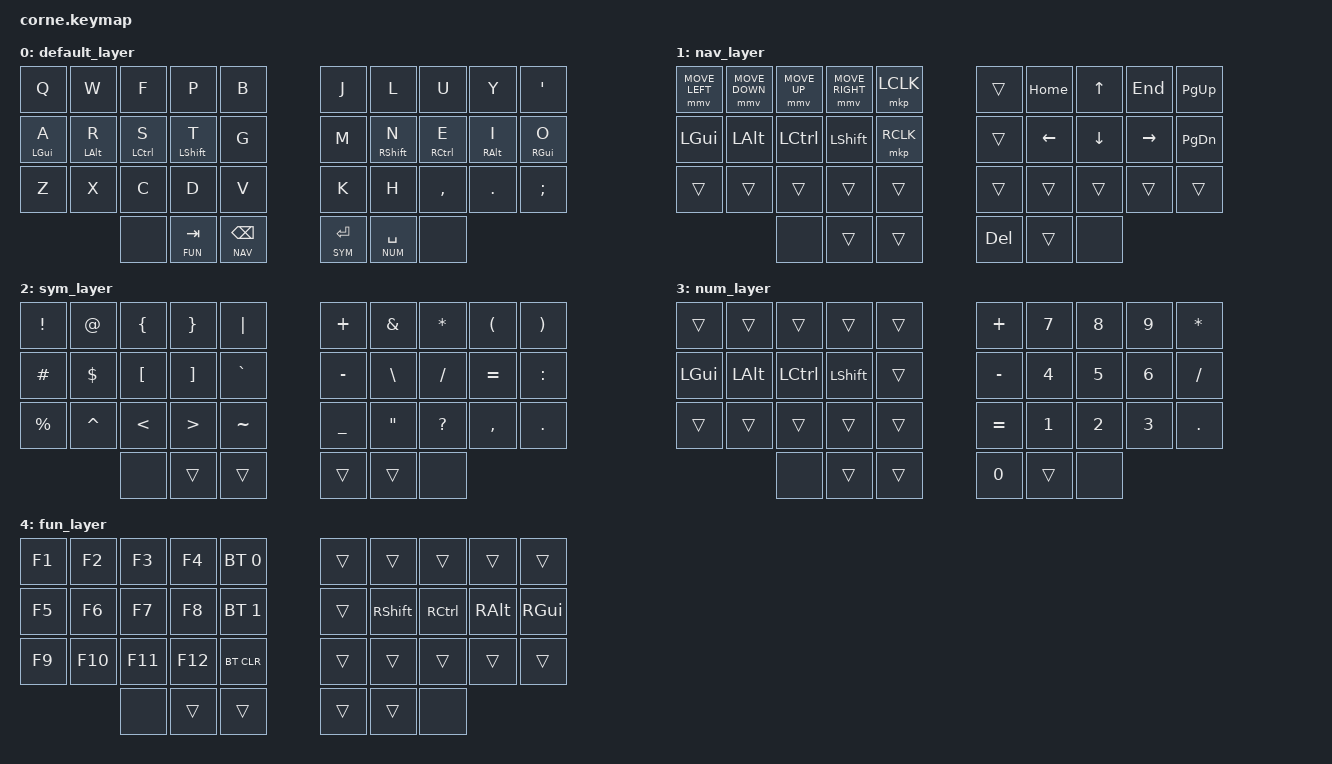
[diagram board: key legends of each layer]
/*
 * Keymap created with customkeymap - base: Split 3×5 + 3 thumbs (36 keys)
 * | 00 | 01 | 02 | 03 | 04 |	| 05 | 06 | 07 | 08 | 09 |
 * | 10 | 11 | 12 | 13 | 14 |	| 15 | 16 | 17 | 18 | 19 |
 * | 20 | 21 | 22 | 23 | 24 |	| 25 | 26 | 27 | 28 | 29 |
 *           | 30 | 31 | 32 |	| 33 | 34 | 35 |
 */

#include <behaviors.dtsi>
#include <dt-bindings/zmk/keys.h>
#include <dt-bindings/zmk/bt.h>
#include <dt-bindings/zmk/mouse.h>

// Layer name definitions
#define DEF 0
#define NAV 1
#define SYM 2
#define NUM 3
#define FUN 4

/ {
    // OPTIMIZED AUTOMATIC COMBOS (No typing latency)
    combos {
        compatible = "zmk,combos";

        // ESCAPE Combo: Press K + H (positions 25 & 26) after a brief idle pause
        combo_esc {
            timeout-ms = <35>;
            key-positions = <25 26>;
            bindings = <&kp ESC>;
            require-prior-idle-ms = <125>; // Prevents misfires during fast typing
            layers = <DEF>;                 // Active on default layer only
        };
    };

    // CUSTOM BEHAVIORS
    behaviors {
        // Optimized Home Row Mods to prevent accidental modifier triggers
        hm: home_row_mods {
            compatible = "zmk,behavior-hold-tap";
            label = "HOME_ROW_MODS";
            #binding-cells = <2>;
            tapping-term-ms = <180>;
            quick-tap-ms = <150>;
            flavor = "balanced";
            bindings = <&kp>, <&kp>;
        };

        // Custom Tap-Hold behavior for thumb layer toggles
        lt_p: layer_tap_thumb {
            compatible = "zmk,behavior-hold-tap";
            label = "LAYER_TAP_THUMB";
            #binding-cells = <2>;
            tapping-term-ms = <170>;
            quick-tap-ms = <150>;
            flavor = "tap-preferred";
            bindings = <&mo>, <&kp>;
        };
    };

    keymap {
        compatible = "zmk,keymap";

        // LAYER 0: DEFAULT (Colemak-DH + Home Row Mods)
        default_layer {
            bindings = <
                &kp Q        &kp W         &kp F          &kp P         &kp B          &kp J           &kp L           &kp U        &kp Y        &kp SQT
                &hm LGUI A   &hm LALT R    &hm LCTRL S    &hm LSHFT T   &kp G          &kp M           &hm RSHFT N     &hm RCTRL E  &hm RALT I   &hm RGUI O
                &kp Z        &kp X         &kp C          &kp D         &kp V          &kp K           &kp H           &kp COMMA    &kp DOT      &kp SEMI
                &none        &lt_p FUN TAB &lt_p NAV BSPC                              &lt_p SYM ENTER &lt_p NUM SPACE &none
            >;
        };

        // LAYER 1: NAVIGATION & MOUSE (NAV) - Activated by holding BSPC
        nav_layer {
            bindings = <
                &mmv MOVE_LEFT &mmv MOVE_DOWN &mmv MOVE_UP &mmv MOVE_RIGHT &mkp LCLK   &trans       &kp HOME     &kp UP       &kp END      &kp PG_UP
                &kp LGUI       &kp LALT       &kp LCTRL    &kp LSHFT       &mkp RCLK   &trans       &kp LEFT     &kp DOWN     &kp RIGHT    &kp PG_DN
                &trans         &trans         &trans       &trans          &trans      &trans       &trans       &trans       &trans       &trans
                &none          &trans         &trans                                   &kp DEL      &trans       &none
            >;
        };

        // LAYER 2: PROGRAMMING SYMBOLS (SYM) - Activated by holding ENTER
        sym_layer {
            bindings = <
                &kp EXCL     &kp AT       &kp LBRC     &kp RBRC     &kp PIPE       &kp PLUS     &kp AMPS     &kp ASTRK    &kp LPAR     &kp RPAR
                &kp HASH     &kp DLLR     &kp LBKT     &kp RBKT     &kp GRAVE      &kp MINUS    &kp BSLH     &kp FSLH     &kp EQUAL    &kp COLON
                &kp PRCNT    &kp CARET    &kp LT       &kp GT       &kp TILDE      &kp UNDER    &kp DQT      &kp QMARK    &kp COMMA    &kp DOT
                &none        &trans       &trans                                   &trans       &trans       &none
            >;
        };

        // LAYER 3: NUMBERS / NUMPAD (NUM) - Activated by holding SPACE
        num_layer {
            bindings = <
                &trans       &trans       &trans       &trans       &trans         &kp PLUS     &kp N7       &kp N8       &kp N9       &kp ASTRK
                &kp LGUI     &kp LALT     &kp LCTRL    &kp LSHFT    &trans         &kp MINUS    &kp N4       &kp N5       &kp N6       &kp FSLH
                &trans       &trans       &trans       &trans       &trans         &kp EQUAL    &kp N1       &kp N2       &kp N3       &kp DOT
                &none        &trans       &trans                                   &kp N0       &trans       &none
            >;
        };

        // LAYER 4: FUNCTION KEYS & BLENDER (FUN) - Activated by holding TAB
        fun_layer {
            bindings = <
                &kp F1       &kp F2       &kp F3       &kp F4       &bt BT_SEL 0   &trans       &trans       &trans       &trans       &trans
                &kp F5       &kp F6       &kp F7       &kp F8       &bt BT_SEL 1   &trans       &kp RSHFT    &kp RCTRL    &kp RALT     &kp RGUI
                &kp F9       &kp F10      &kp F11      &kp F12      &bt BT_CLR     &trans       &trans       &trans       &trans       &trans
                &none        &trans       &trans                                   &trans       &trans       &none
            >;
        };
    };
};
